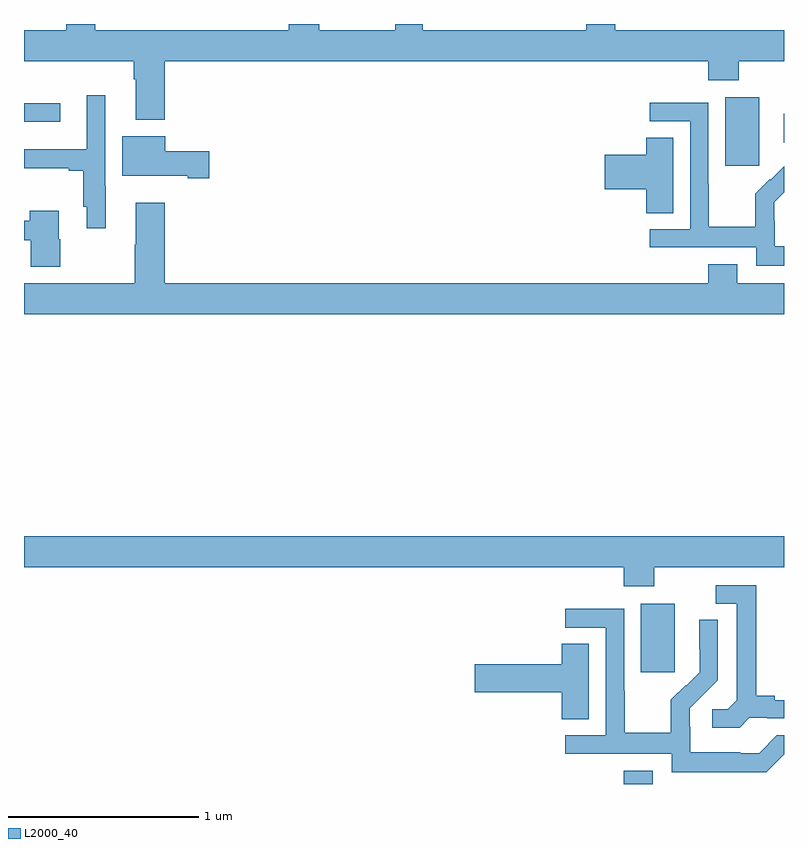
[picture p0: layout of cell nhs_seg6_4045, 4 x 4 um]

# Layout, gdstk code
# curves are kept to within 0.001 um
import gdstk
lib = gdstk.Library(unit=1e-6, precision=1e-09)
def R(c, l, rs):  # rectangles x0, y0, x1, y1
    for r in rs: c.add(gdstk.rectangle(r[:2], r[2:], *l))
def P(c, l, *ps):  # polygons
    for p in ps: c.add(gdstk.Polygon(p, *l))
L2000_40 = (2000, 40)

nhs_seg6_4045 = lib.new_cell('nhs_seg6_4045')
R(nhs_seg6_4045, L2000_40, [(352.157,975.5,352.309,975.571), (352.247,976.089,352.426,976.45), (352.691,978.753,352.87,979.114), (352.998,978.874,353,979.028), (349,978.986,349.192,979.083)])
P(nhs_seg6_4045, L2000_40, [(349.742,979.304),(352.601,979.304),(352.601,979.205),(352.761,979.205),(352.761,979.304),(353,979.304),(353,979.468),(352.112,979.468),(352.112,979.5),(351.959,979.5),(351.959,979.468),(351.099,979.468),(351.099,979.5),(350.953,979.5),(350.953,979.468),(350.553,979.468),(350.553,979.5),(350.393,979.5),(350.393,979.468),(349.376,979.468),(349.376,979.5),(349.223,979.5),(349.223,979.468),(349,979.468),(349,979.304),(349.577,979.304),(349.577,979.208),(349.589,979.208),(349.589,978.995),(349.742,978.995)],
  [(349.429,978.647),(349.428,978.647),(349.428,979.126),(349.331,979.126),(349.331,978.841),(349,978.841),(349,978.742),(349.235,978.742),(349.235,978.728),(349.312,978.728),(349.312,978.538),(349.331,978.538),(349.331,978.426),(349.429,978.426)],
  [(353,978.331),(352.95,978.331),(352.95,978.465),(352.948,978.465),(352.948,978.562),(353,978.614),(353,978.752),(352.929,978.681),(352.926,978.684),(352.849,978.607),(352.849,978.433),(352.605,978.433),(352.605,978.656),(352.602,978.656),(352.602,979.086),(352.293,979.086),(352.293,978.987),(352.506,978.987),(352.506,978.42),(352.293,978.42),(352.293,978.324),(352.854,978.324),(352.854,978.227),(353,978.227)],
  [(349.975,978.831),(349.744,978.831),(349.744,978.91),(349.517,978.91),(349.517,978.701),(349.862,978.701),(349.862,978.689),(349.975,978.689)],
  [(352.417,978.902),(352.274,978.902),(352.274,978.812),(352.056,978.812),(352.056,978.629),(352.274,978.629),(352.274,978.505),(352.417,978.505)],
  [(353,978.136),(352.753,978.136),(352.753,978.235),(352.601,978.235),(352.601,978.136),(349.742,978.136),(349.742,978.559),(349.589,978.559),(349.589,978.338),(349.582,978.338),(349.582,978.136),(349,978.136),(349,977.972),(353,977.972)],
  [(349.191,978.366),(349.183,978.366),(349.183,978.517),(349.031,978.517),(349.031,978.464),(349,978.464),(349,978.361),(349.036,978.361),(349.036,978.222),(349.191,978.222)],
  [(352.317,976.64),(353,976.64),(353,976.804),(349,976.804),(349,976.64),(352.157,976.64),(352.157,976.541),(352.317,976.541)],
  [(352.818,975.849),(352.912,975.849),(352.912,975.846),(353,975.846),(353,975.942),(352.951,975.942),(352.951,975.965),(352.855,975.965),(352.855,976.545),(352.641,976.545),(352.641,976.449),(352.751,976.449),(352.751,975.941),(352.704,975.894),(352.623,975.894),(352.623,975.797),(352.766,975.797)],
  [(353,975.656),(353,975.756),(352.962,975.756),(352.869,975.663),(352.769,975.663),(352.769,975.667),(352.506,975.667),(352.506,975.801),(352.504,975.801),(352.504,975.898),(352.65,976.046),(352.65,976.364),(352.554,976.364),(352.554,976.21),(352.556,976.21),(352.556,976.088),(352.485,976.017),(352.482,976.02),(352.405,975.943),(352.405,975.769),(352.161,975.769),(352.161,975.992),(352.158,975.992),(352.158,976.422),(351.849,976.422),(351.849,976.323),(352.062,976.323),(352.062,975.756),(351.849,975.756),(351.849,975.66),(352.41,975.66),(352.41,975.563),(352.907,975.563)],
  [(351.973,976.238),(351.83,976.238),(351.83,976.13),(351.372,976.13),(351.372,975.983),(351.83,975.983),(351.83,975.841),(351.973,975.841)])

lib.write_gds('nhs_seg6_4045.gds')
